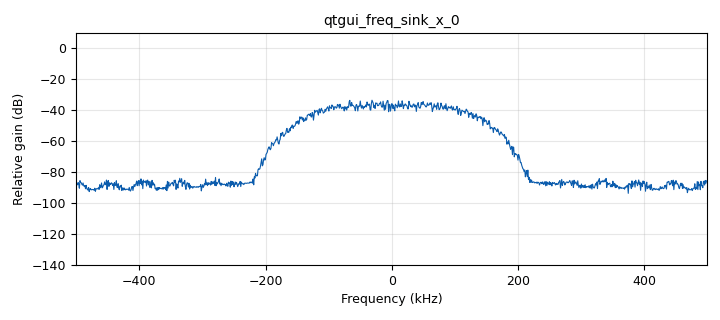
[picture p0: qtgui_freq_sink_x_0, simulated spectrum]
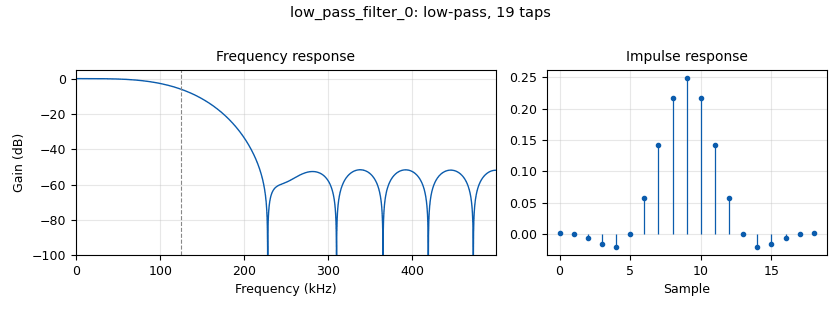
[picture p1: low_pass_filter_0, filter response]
<?xml version='1.0' encoding='utf-8'?>
<?grc format='1' created='3.7.9'?>
<flow_graph>
<block>
<key>options</key>
<param><key>id</key><value>top_block</value></param>
<param><key>category</key><value>Custom</value></param>
<param><key>generate_options</key><value>qt_gui</value></param>
</block>
<block>
<key>variable</key>
<param><key>id</key><value>samp_rate</value></param>
<param><key>value</key><value>1e06</value></param>
</block>
<block>
<key>variable_qtgui_range</key>
<param><key>id</key><value>slider_cutoff</value></param>
<param><key>value</key><value>samp_rate/8</value></param>
<param><key>orient</key><value>Qt.Horizontal</value></param>
<param><key>start</key><value>samp_rate/1000</value></param>
<param><key>step</key><value>1</value></param>
<param><key>stop</key><value>samp_rate/2</value></param>
</block>
<block>
<key>variable_qtgui_range</key>
<param><key>id</key><value>slider_cutoff_high</value></param>
<param><key>value</key><value>slider_cutoff+2e03</value></param>
<param><key>orient</key><value>Qt.Horizontal</value></param>
<param><key>start</key><value>slider_cutoff</value></param>
<param><key>step</key><value>1</value></param>
<param><key>stop</key><value>samp_rate/2</value></param>
</block>
<block>
<key>variable_qtgui_range</key>
<param><key>id</key><value>slider_trans</value></param>
<param><key>value</key><value>samp_rate/8</value></param>
<param><key>orient</key><value>Qt.Horizontal</value></param>
<param><key>start</key><value>samp_rate/1000</value></param>
<param><key>step</key><value>1</value></param>
<param><key>stop</key><value>samp_rate/2</value></param>
</block>
<block>
<key>analog_noise_source_x</key>
<param><key>id</key><value>analog_noise_source_x_0</value></param>
<param><key>amp</key><value>1</value></param>
<param><key>noise_type</key><value>analog.GR_GAUSSIAN</value></param>
<param><key>type</key><value>complex</value></param>
<param><key>seed</key><value>0</value></param>
</block>
<block>
<key>band_pass_filter</key>
<param><key>id</key><value>band_pass_filter_0</value></param>
<param><key>decim</key><value>1</value></param>
<param><key>_enabled</key><value>0</value></param>
<param><key>type</key><value>fir_filter_ccc</value></param>
<param><key>gain</key><value>1</value></param>
<param><key>high_cutoff_freq</key><value>slider_cutoff_high</value></param>
<param><key>low_cutoff_freq</key><value>slider_cutoff</value></param>
<param><key>samp_rate</key><value>samp_rate</value></param>
<param><key>width</key><value>slider_trans</value></param>
<param><key>win</key><value>firdes.WIN_HAMMING</value></param>
</block>
<block>
<key>blocks_throttle</key>
<param><key>id</key><value>blocks_throttle_0</value></param>
<param><key>samples_per_second</key><value>samp_rate</value></param>
<param><key>type</key><value>complex</value></param>
</block>
<block>
<key>high_pass_filter</key>
<param><key>id</key><value>high_pass_filter_0</value></param>
<param><key>cutoff_freq</key><value>slider_cutoff</value></param>
<param><key>decim</key><value>1</value></param>
<param><key>_enabled</key><value>0</value></param>
<param><key>type</key><value>fir_filter_ccf</value></param>
<param><key>gain</key><value>1</value></param>
<param><key>samp_rate</key><value>samp_rate</value></param>
<param><key>width</key><value>slider_trans</value></param>
<param><key>win</key><value>firdes.WIN_HAMMING</value></param>
</block>
<block>
<key>low_pass_filter</key>
<param><key>id</key><value>low_pass_filter_0</value></param>
<param><key>cutoff_freq</key><value>slider_cutoff</value></param>
<param><key>decim</key><value>1</value></param>
<param><key>type</key><value>fir_filter_ccf</value></param>
<param><key>gain</key><value>1</value></param>
<param><key>samp_rate</key><value>samp_rate</value></param>
<param><key>width</key><value>slider_trans</value></param>
<param><key>win</key><value>firdes.WIN_HAMMING</value></param>
</block>
<block>
<key>qtgui_freq_sink_x</key>
<param><key>id</key><value>qtgui_freq_sink_x_0</value></param>
<param><key>average</key><value>0.1</value></param>
<param><key>bw</key><value>1e06</value></param>
<param><key>fc</key><value>0</value></param>
<param><key>fftsize</key><value>1024</value></param>
<param><key>showports</key><value>True</value></param>
<param><key>type</key><value>complex</value></param>
<param><key>wintype</key><value>firdes.WIN_HAMMING</value></param>
</block>
<connection><source_block_id>analog_noise_source_x_0</source_block_id><sink_block_id>band_pass_filter_0</sink_block_id><source_key>0</source_key><sink_key>0</sink_key></connection>
<connection><source_block_id>analog_noise_source_x_0</source_block_id><sink_block_id>high_pass_filter_0</sink_block_id><source_key>0</source_key><sink_key>0</sink_key></connection>
<connection><source_block_id>analog_noise_source_x_0</source_block_id><sink_block_id>low_pass_filter_0</sink_block_id><source_key>0</source_key><sink_key>0</sink_key></connection>
<connection><source_block_id>band_pass_filter_0</source_block_id><sink_block_id>blocks_throttle_0</sink_block_id><source_key>0</source_key><sink_key>0</sink_key></connection>
<connection><source_block_id>blocks_throttle_0</source_block_id><sink_block_id>qtgui_freq_sink_x_0</sink_block_id><source_key>0</source_key><sink_key>0</sink_key></connection>
<connection><source_block_id>high_pass_filter_0</source_block_id><sink_block_id>blocks_throttle_0</sink_block_id><source_key>0</source_key><sink_key>0</sink_key></connection>
<connection><source_block_id>low_pass_filter_0</source_block_id><sink_block_id>blocks_throttle_0</sink_block_id><source_key>0</source_key><sink_key>0</sink_key></connection>
</flow_graph>
